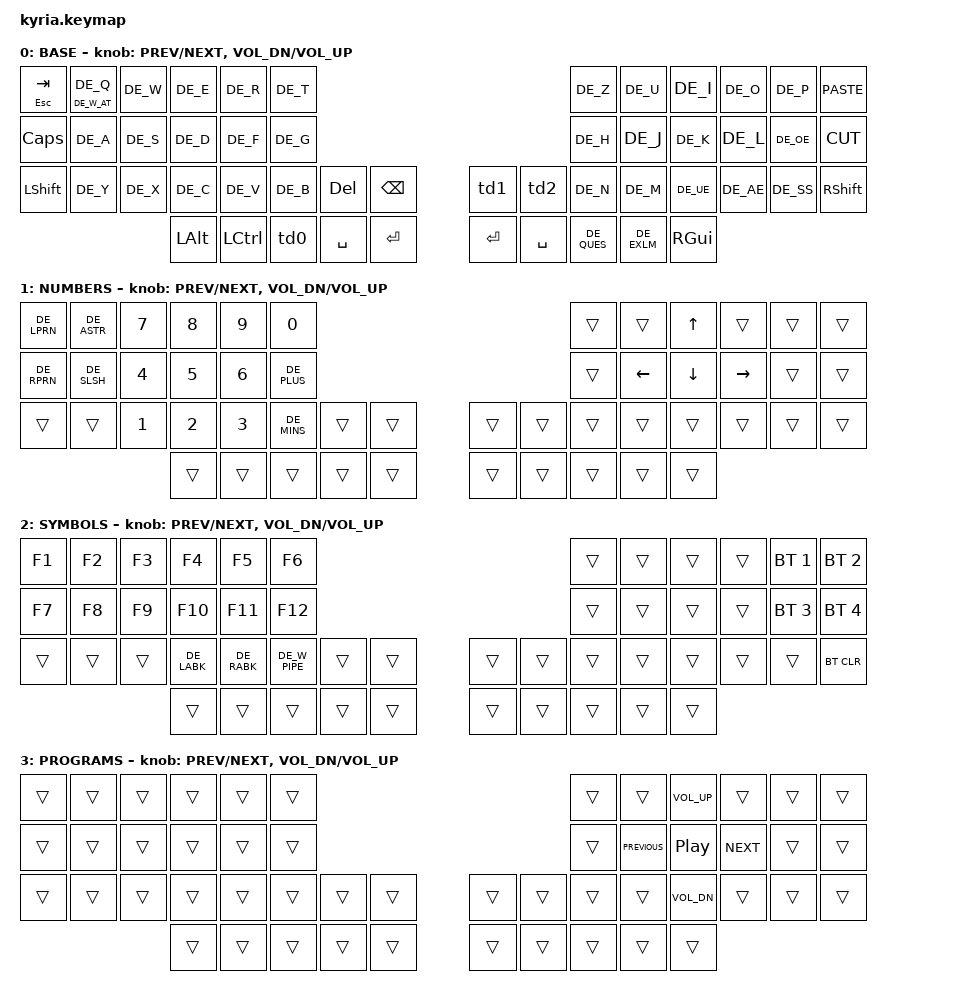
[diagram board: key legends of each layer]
/*
 * Copyright (c) 2020 The ZMK Contributors
 *
 * SPDX-License-Identifier: MIT
 */

#include <behaviors.dtsi>
#include <dt-bindings/zmk/keys.h>
#include <dt-bindings/zmk/ext_power.h>
#include <dt-bindings/zmk/outputs.h>
#include <dt-bindings/zmk/bt.h>

#include "german-keymap.h"

#define BASE  0
#define ZAHLEN 1
#define ZEICHEN 2
#define PROGRAME 3

/*&mt {
    retro-tap;
    flavor = "tap-preferred";
};
&lt {
    retro-tap;
    flavor = "tap-preferred";
};*/

/{ combos {
        compatible = "zmk,combos";
        combo_base {
            timeout-ms = <50>;
            key-positions = <13 14>;
            bindings = <&to 0>;
        };
		 combo_zahlen {
            timeout-ms = <50>;
            key-positions = <14 15>;
            bindings = <&to 1>;
        };
		 combo_zeichen {
            timeout-ms = <50>;
            key-positions = <15 16>;
			bindings = <&to 2>;
        };
		 combo_programme {
            timeout-ms = <50>;
            key-positions = <13 16>;
            bindings = <&to 3>;
        };
    };



	behaviors {
        mthp: hold_preferred_tap {
                        compatible = "zmk,behavior-hold-tap";
                        label = "HOLD_PREFERRED_TAP";            
                        #binding-cells = <2>;
                        tapping-term-ms = <200>;                  
                        flavor = "hold-preferred";      
                        bindings = <&kp>, <&kp>;
        };
		td0: tap_dance_0 {
           				compatible = "zmk,behavior-tap-dance";
            			label = "TAP_DANCE_0";
            			#binding-cells = <0>;
            			tapping-term-ms = <200>;
            			bindings = <&kp DE_DOT>, <&kp DE_COMM>, <&kp DE_COLN>;
        }; 
		td1: tap_dance_1 {
           				compatible = "zmk,behavior-tap-dance";
            			label = "TAP_DANCE_1";
            			#binding-cells = <0>;
            			tapping-term-ms = <200>;
            			bindings = <&kp DE_MINS>, <&kp DE_UNDS>, <&kp DE_QUOT>;
        };
		td2: tap_dance_2 {
           				compatible = "zmk,behavior-tap-dance";
            			label = "TAP_DANCE_2";
            			#binding-cells = <0>;
            			tapping-term-ms = <200>;
            			bindings = <&kp DE_SCLN>, <&kp DE_COLN>, <&kp DE_HASH>;
        };
    };


	keymap {
		compatible = "zmk,keymap";

		BASE_layer {
			label = "BASE";

			bindings = <
	&mt ESC TAB &mt DE_W_AT DE_Q &kp DE_W &kp DE_E &kp DE_R &kp DE_T                                                 		   &kp DE_Z &kp DE_U  &kp DE_I &kp DE_O &kp DE_P  &kp K_PASTE
	&kp CAPS	&kp DE_A &kp DE_S &kp DE_D &kp DE_F &kp DE_G                                                 		   &kp DE_H &kp DE_J  &kp DE_K &kp DE_L &kp DE_OE &kp K_CUT
	&kp LSHFT   &kp DE_Y &kp DE_X &kp DE_C &kp DE_V &kp DE_B &kp DEL &kp BSPC  									&td1  &td2 &kp DE_N &kp DE_M  &kp DE_UE &kp DE_AE &kp DE_SS &kp RSHFT
	       						 &kp LALT &kp LCTRL &td0 &kp SPACE &kp ENTER      		 	   					 &kp ENTER &kp SPACE &kp DE_QUES &kp DE_EXLM &kp RGUI
			>;
			sensor-bindings = <&inc_dec_kp C_PREV C_NEXT &inc_dec_kp C_VOL_DN C_VOL_UP>;

		};

		ZAHLEN_layer {
			label = "NUMBERS";

			bindings = <
	&kp DE_LPRN &kp DE_ASTR &kp N7   &kp N8   &kp N9   &kp N0 										 	&trans &trans &kp UP_ARROW &trans &trans &trans
	&kp DE_RPRN &kp DE_SLSH &kp N4   &kp N5   &kp N6   &kp DE_PLUS 										&trans &kp LEFT_ARROW &kp DOWN_ARROW &kp RIGHT_ARROW &trans &trans
	&trans 		&trans  	&kp N1	 &kp N2	  &kp N3   &kp DE_MINS &trans &trans		  &trans &trans &trans &trans &trans &trans &trans &trans 
							   &trans &trans &trans &trans &trans 						  &trans &trans &trans &trans &trans 
			>;
			sensor-bindings = <&inc_dec_kp C_PREV C_NEXT &inc_dec_kp C_VOL_DN C_VOL_UP>;


		};
		
		ZEICHEN_layer {
			label = "SYMBOLS";
			bindings = <
	&kp F1 &kp F2 &kp F3 &kp F4  &kp F5  &kp F6 				 		  			  	  &trans &trans &trans &trans &bt BT_SEL 1 &bt BT_SEL 2
	&kp F7 &kp F8 &kp F9 &kp F10 &kp F11 &kp F12 						  			  	  &trans &trans &trans &trans &bt BT_SEL 3 &bt BT_SEL 4
	&trans &trans &trans &kp DE_LABK  &kp DE_RABK  &kp DE_W_PIPE &trans &trans 				&trans &trans &trans &trans &trans &trans &trans 	   &bt BT_CLR  
		 			     &trans &trans &trans &trans &trans 				&trans &trans &trans &trans &trans 
			>;
			sensor-bindings = <&inc_dec_kp C_PREV C_NEXT &inc_dec_kp C_VOL_DN C_VOL_UP>;


		};

		PROGRAME_layer {
			label = "PROGRAMS";
			bindings = <
	&trans &trans &trans &trans &trans &trans 				 		  			  	  &trans &trans &kp C_VOL_UP &trans &trans &trans 
	&trans &trans &trans &trans &trans &trans 						  			  	  &trans &kp C_PREVIOUS &kp C_PLAY_PAUSE &kp C_NEXT &trans &trans 
	&trans &trans &trans &trans &trans &trans &trans &trans 			&trans &trans &trans &trans &kp C_VOL_DN &trans &trans &trans  
		 			     &trans &trans &trans &trans &trans 			&trans &trans &trans &trans &trans 
			>;
			sensor-bindings = <&inc_dec_kp C_PREV C_NEXT &inc_dec_kp C_VOL_DN C_VOL_UP>;


		};
	};
};

